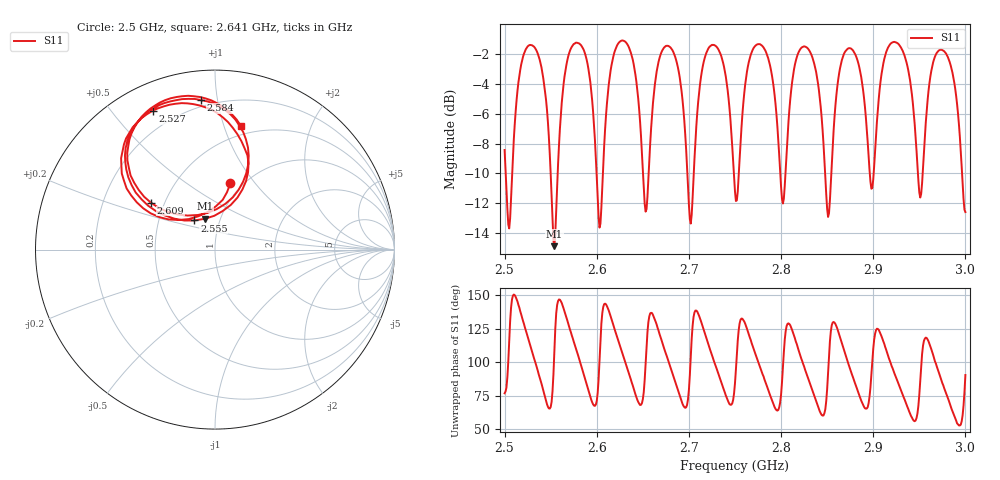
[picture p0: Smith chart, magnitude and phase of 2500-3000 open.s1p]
! NanoVNA-App by SYSJOINT et al v1.1.209 (+OD18)
! Date: 2025-09-17 10:38:50
! Start: 2.5GHz Stop: 3GHz Points: 501
! S-Parameter data: F S11
# Hz S RI R 50
!  Frequency  S11_Real  S11_Imag
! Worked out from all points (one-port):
!   501 points, 2.5 GHz to 3 GHz, reference 50 ohm
!   lowest |S11| = -14.9 dB at 2.554 GHz (marker M1), VSWR 1.44, Z = 42.1 + j14.9 ohm
!   |S11| at or under -10 dB: 2.501196 GHz to 2.5082 GHz (7.004 MHz wide, 0.28 % of centre); 2.549984 GHz to 2.557604 GHz (7.619 MHz wide, 0.298 % of centre); 2.599813 GHz to 2.606643 GHz (6.83 MHz wide, 0.262 % of centre) (the widest 3 of 11)
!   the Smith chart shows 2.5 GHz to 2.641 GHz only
!   S11 on the Smith chart (normalised r, x): 2.5 GHz: 0.88, +0.76; 2.527 GHz: 0.12, +0.64; 2.555 GHz: 0.76, +0.26; 2.584 GHz: 0.16, +0.90; 2.609 GHz: 0.42, +0.27; 2.641 GHz: 0.42, +1.14
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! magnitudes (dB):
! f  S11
! 2.5 GHz  -8.4
! 2.527 GHz  -1.4
! 2.554 GHz  -14.9
! 2.555 GHz  -14.0
! 2.563 GHz  -4.6
! 2.584 GHz  -1.5
! 2.603 GHz  -13.6
! 2.609 GHz  -7.1
! 2.625 GHz  -1.2
! 2.641 GHz  -3.0
! 2.653 GHz  -12.5
! 2.667 GHz  -2.6
! 2.688 GHz  -2.9
! 2.702 GHz  -13.3
! 2.724 GHz  -1.5
! 2.75 GHz  -11.2
! 2.77 GHz  -1.6
! 2.802 GHz  -12.0
! 2.813 GHz  -3.5
! 2.836 GHz  -2.7
! 2.851 GHz  -12.9
! 2.875 GHz  -1.6
! 2.898 GHz  -11.0
! 2.914 GHz  -1.9
! 2.938 GHz  -3.1
! 2.951 GHz  -11.6
! 2.981 GHz  -2.2
! 3 GHz  -12.6
